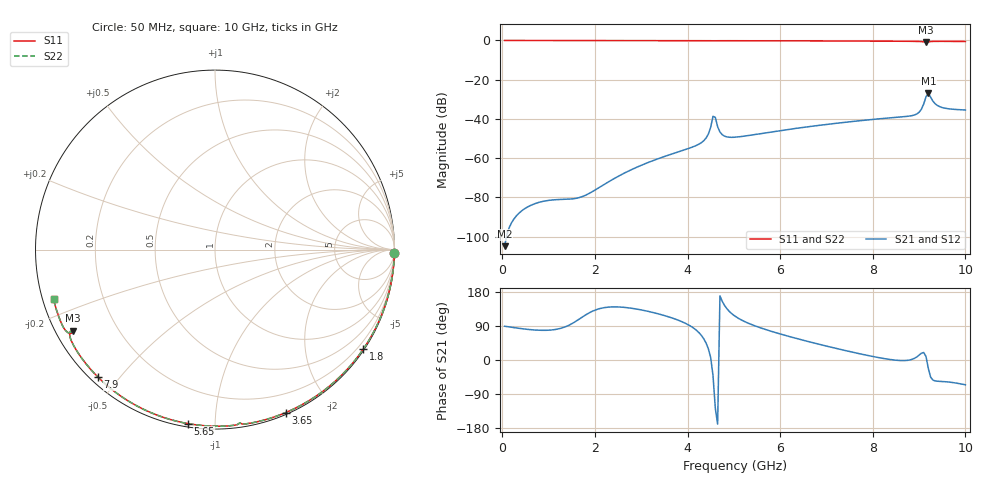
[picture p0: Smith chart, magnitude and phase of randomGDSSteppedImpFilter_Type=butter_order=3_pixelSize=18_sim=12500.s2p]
! freq	dB(S11)	phase(S11)	dB(S12)	phase(S12)
!  dB(S21)	phase(S21)	dB(S22)	phase(S22)
!S-par simulation data
#  GHz  S  DB  R 50
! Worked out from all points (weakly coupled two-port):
!   200 points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, 50 MHz to 10 GHz, reference 50 ohm
!   highest |S21| = -26.97 dB at 9.2 GHz (marker M1); lowest = -104.9 dB at 50 MHz (marker M2)
!   lowest |S11| = -0.8 dB at 9.15 GHz (marker M3), VSWR 22.10, Z = 2.42 - j13.2 ohm
!   |S11| at or under -10 dB: nowhere
!   |S22| runs from -0.8 to 0.0 dB; largest |S21 - S12| = 0
!   S11 on the Smith chart (normalised r, x): 50 MHz: open; 1.8 GHz: 0.03, -3.29; 3.65 GHz: 0.02, -1.52; 5.65 GHz: 0.02, -0.86; 7.9 GHz: 0.02, -0.44; 10 GHz: 0.03, -0.15
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0.05  -0.00 -1.0  -104.91 89.1  -104.91 89.1  -0.00 -1.0
1.75  -0.04 -32.9  -79.42 115.1  -79.42 115.1  -0.04 -32.9
1.8  -0.04 -33.8  -78.92 119.0  -78.92 119.0  -0.04 -33.8
3.4  -0.08 -62.3  -60.01 120.8  -60.01 120.8  -0.08 -62.3
3.65  -0.09 -66.6  -57.98 111.6  -57.98 111.6  -0.09 -66.6
4.35  -0.11 -78.4  -51.14 56.1  -51.14 56.1  -0.11 -78.3
4.45  -0.12 -80.1  -47.71 29.5  -47.71 29.5  -0.12 -80.1
4.55  -0.22 -81.9  -38.69 -41.0  -38.69 -41.0  -0.22 -81.9
4.6  -0.21 -81.9  -39.22 -127.8  -39.22 -127.8  -0.21 -81.8
4.65  -0.15 -82.8  -44.02 -169.4  -44.02 -169.4  -0.15 -82.7
4.75  -0.13 -84.5  -48.06 154.7  -48.06 154.7  -0.13 -84.5
5.05  -0.14 -89.4  -49.27 113.9  -49.27 113.9  -0.14 -89.4
5.65  -0.16 -98.9  -47.25 81.8  -47.25 81.8  -0.16 -98.9
6.7  -0.22 -114.8  -43.71 45.8  -43.71 45.8  -0.22 -114.8
7.9  -0.32 -132.5  -40.50 11.7  -40.50 11.7  -0.32 -132.5
8.35  -0.36 -139.2  -39.51 1.7  -39.51 1.7  -0.36 -139.1
8.95  -0.48 -148.3  -37.50 8.0  -37.50 8.0  -0.48 -148.3
9.05  -0.57 -149.9  -35.06 17.8  -35.06 17.8  -0.58 -149.9
9.15  -0.79 -150.3  -28.68 9.1  -28.68 9.1  -0.78 -150.3
9.2  -0.68 -149.8  -26.97 -22.6  -26.97 -22.6  -0.67 -149.8
9.45  -0.45 -154.4  -33.81 -56.4  -33.81 -56.4  -0.45 -154.4
10  -0.53 -163.0  -35.47 -65.4  -35.47 -65.4  -0.53 -162.9
